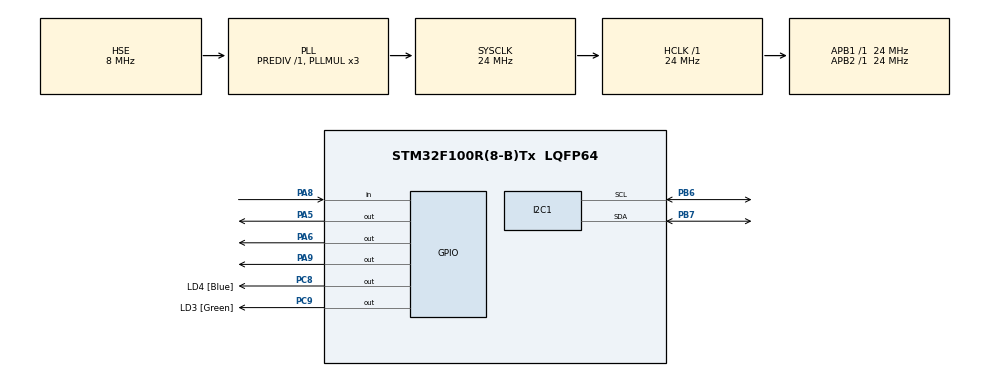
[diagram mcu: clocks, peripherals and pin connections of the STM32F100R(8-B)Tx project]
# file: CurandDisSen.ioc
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Mcu.Family=STM32F1
Mcu.Name=STM32F100R(8-B)Tx
Mcu.Package=LQFP64
NVIC.PriorityGroup=NVIC_PRIORITYGROUP_4
PA0-WKUP.Signal=SYS_WKUP
PA13.GPIO_Label=TMS_SWDIO
PA13.Mode=Serial_Wire
PA13.Signal=SYS_JTMS-SWDIO
PA14.GPIO_Label=TCK_SWCLK
PA14.Mode=Serial_Wire
PA14.Signal=SYS_JTCK-SWCLK
PA5.Signal=GPIO_Output
PA6.Signal=GPIO_Output
PA8.Signal=GPIO_Input
PA9.Signal=GPIO_Output
PB6.Mode=I2C
PB6.Signal=I2C1_SCL
PB7.Mode=I2C
PB7.Signal=I2C1_SDA
PC14-OSC32_IN.Mode=LSE-External-Oscillator
PC14-OSC32_IN.Signal=RCC_OSC32_IN
PC15-OSC32_OUT.Mode=LSE-External-Oscillator
PC15-OSC32_OUT.Signal=RCC_OSC32_OUT
PC8.GPIO_Label=LD4 [Blue]
PC8.Signal=GPIO_Output
PC9.GPIO_Label=LD3 [Green]
PC9.Signal=GPIO_Output
PD0-OSC_IN.Mode=HSE-External-Oscillator
PD0-OSC_IN.Signal=RCC_OSC_IN
PD1-OSC_OUT.Mode=HSE-External-Oscillator
PD1-OSC_OUT.Signal=RCC_OSC_OUT
ProjectManager.HeapSize=0x200
ProjectManager.StackSize=0x400
ProjectManager.TargetToolchain=MDK-ARM V5.32
RCC.AHBFreq_Value=24000000
RCC.APB1Freq_Value=24000000
RCC.APB1TimFreq_Value=24000000
RCC.APB2Freq_Value=24000000
RCC.APB2TimFreq_Value=24000000
RCC.HCLKFreq_Value=24000000
RCC.PLLMUL=RCC_PLL_MUL3
RCC.PLLSource=RCC_PLLSOURCE_HSE
RCC.SYSCLKFreq_VALUE=24000000
RCC.SYSCLKSource=RCC_SYSCLKSOURCE_PLLCLK
TIM1.Prescaler=71
VP_TIM1_VS_ClockSourceINT.Mode=Internal
board=STM32VLDISCOVERY

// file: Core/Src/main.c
/* USER CODE BEGIN Header */
/**
  ******************************************************************************
  * @file           : main.c
  * @brief          : Main program body
  ******************************************************************************
  * @attention
  *
  * Copyright (c) 2024 STMicroelectronics.
  * All rights reserved.
  *
  * This software is licensed under terms that can be found in the LICENSE file
  * in the root directory of this software component.
  * If no LICENSE file comes with this software, it is provided AS-IS.
  *
  ******************************************************************************
  */
/* USER CODE END Header */
#include "main.h"

/* USER CODE BEGIN Includes */
#include "INA219.h"
#include "liquidcrystal_i2c.h"
#include "stdio.h"

/* USER CODE END Includes */

I2C_HandleTypeDef hi2c1;

TIM_HandleTypeDef htim1;

/* USER CODE BEGIN PV */
INA219_t ina219;

#define TRIG_PIN GPIO_PIN_9
#define TRIG_PORT GPIOA
#define ECHO_PIN GPIO_PIN_8
#define ECHO_PORT GPIOA
uint32_t pMillis;
uint32_t Value1 = 0;
uint32_t Value2 = 0;
uint16_t Distance  = 0;  // cm

/* USER CODE END PV */

void SystemClock_Config(void);
static void MX_GPIO_Init(void);
static void MX_I2C1_Init(void);
static void MX_TIM1_Init(void);

int main(void)
{

  /* USER CODE BEGIN 1 */
	char deger[16];
	uint32_t vbus, vshunt, current, maxCurrent;

  /* USER CODE END 1 */

  /* MCU Configuration--------------------------------------------------------*/

  /* Reset of all peripherals, Initializes the Flash interface and the Systick. */
  HAL_Init();

  /* Configure the system clock */
  SystemClock_Config();

  /* Initialize all configured peripherals */
  MX_GPIO_Init();
  MX_I2C1_Init();
  MX_TIM1_Init();
  /* USER CODE BEGIN 2 */
	HD44780_Init(2);
	HD44780_Backlight();
	HAL_TIM_Base_Start(&htim1);
	HAL_GPIO_WritePin(TRIG_PORT, TRIG_PIN, GPIO_PIN_RESET);

	  while(!INA219_Init(&ina219, &hi2c1, INA219_ADDRESS))
  {

  }

  /* USER CODE END 2 */

  /* Infinite loop */
  /* USER CODE BEGIN WHILE */
    while (1)
  {

    HAL_GPIO_WritePin(TRIG_PORT, TRIG_PIN, GPIO_PIN_SET);  // pull the TRIG pin HIGH
    __HAL_TIM_SET_COUNTER(&htim1, 0);
    while (__HAL_TIM_GET_COUNTER (&htim1) < 10);  // wait for 10 us
    HAL_GPIO_WritePin(TRIG_PORT, TRIG_PIN, GPIO_PIN_RESET);  // pull the TRIG pin low

    pMillis = HAL_GetTick(); // used this to avoid infinite while loop  (for timeout)
    // wait for the echo pin to go high
    while (!(HAL_GPIO_ReadPin (ECHO_PORT, ECHO_PIN)) && pMillis + 10 >  HAL_GetTick());
    Value1 = __HAL_TIM_GET_COUNTER (&htim1);

    pMillis = HAL_GetTick(); // used this to avoid infinite while loop (for timeout)
    // wait for the echo pin to go low
    while ((HAL_GPIO_ReadPin (ECHO_PORT, ECHO_PIN)) && pMillis + 50 > HAL_GetTick());
    Value2 = __HAL_TIM_GET_COUNTER (&htim1);

    Distance = (Value2-Value1)* 0.034/2;
    HAL_Delay(50);
		sprintf(deger,"dis %d cm", Distance);
		HD44780_SetCursor(0,0);
		HD44780_PrintStr(deger);
		vbus = INA219_ReadBusVoltage(&ina219);
		vshunt = INA219_ReadShuntVolage(&ina219);
		current = INA219_ReadCurrent(&ina219);
		if(maxCurrent == 0 || maxCurrent < current)
		{
			maxCurrent = current;
		}
		sprintf(deger,"cur %d mA", current);
		HD44780_SetCursor(0,1);
		HD44780_PrintStr(deger);
		sprintf(deger,"MAX %d mA", maxCurrent);
		HD44780_SetCursor(8,0);
		HD44780_PrintStr(deger);

		if(maxCurrent >= 200)
		{
			HAL_GPIO_WritePin(GPIOA,GPIO_PIN_5,1);
			HAL_GPIO_WritePin(GPIOA,GPIO_PIN_6,0);
		}
		else
		{
			HAL_GPIO_WritePin(GPIOA,GPIO_PIN_5,0);
			HAL_GPIO_WritePin(GPIOA,GPIO_PIN_6,1);
		}
    /* USER CODE END WHILE */

  }
}

void SystemClock_Config(void)
{
  RCC_OscInitTypeDef RCC_OscInitStruct = {0};
  RCC_ClkInitTypeDef RCC_ClkInitStruct = {0};

  /** Initializes the RCC Oscillators according to the specified parameters
  * in the RCC_OscInitTypeDef structure.
  */
  RCC_OscInitStruct.OscillatorType = RCC_OSCILLATORTYPE_HSE;
  RCC_OscInitStruct.HSEState = RCC_HSE_ON;
  RCC_OscInitStruct.HSEPredivValue = RCC_HSE_PREDIV_DIV1;
  RCC_OscInitStruct.PLL.PLLState = RCC_PLL_ON;
  RCC_OscInitStruct.PLL.PLLSource = RCC_PLLSOURCE_HSE;
  RCC_OscInitStruct.PLL.PLLMUL = RCC_PLL_MUL3;
  if (HAL_RCC_OscConfig(&RCC_OscInitStruct) != HAL_OK)
  {
    Error_Handler();
  }

  /** Initializes the CPU, AHB and APB buses clocks
  */
  RCC_ClkInitStruct.ClockType = RCC_CLOCKTYPE_HCLK|RCC_CLOCKTYPE_SYSCLK
                              |RCC_CLOCKTYPE_PCLK1|RCC_CLOCKTYPE_PCLK2;
  RCC_ClkInitStruct.SYSCLKSource = RCC_SYSCLKSOURCE_PLLCLK;
  RCC_ClkInitStruct.AHBCLKDivider = RCC_SYSCLK_DIV1;
  RCC_ClkInitStruct.APB1CLKDivider = RCC_HCLK_DIV1;
  RCC_ClkInitStruct.APB2CLKDivider = RCC_HCLK_DIV1;

  if (HAL_RCC_ClockConfig(&RCC_ClkInitStruct, FLASH_LATENCY_0) != HAL_OK)
  {
    Error_Handler();
  }
}

static void MX_I2C1_Init(void)
{

  hi2c1.Instance = I2C1;
  hi2c1.Init.ClockSpeed = 100000;
  hi2c1.Init.DutyCycle = I2C_DUTYCYCLE_2;
  hi2c1.Init.OwnAddress1 = 0;
  hi2c1.Init.AddressingMode = I2C_ADDRESSINGMODE_7BIT;
  hi2c1.Init.DualAddressMode = I2C_DUALADDRESS_DISABLE;
  hi2c1.Init.OwnAddress2 = 0;
  hi2c1.Init.GeneralCallMode = I2C_GENERALCALL_DISABLE;
  hi2c1.Init.NoStretchMode = I2C_NOSTRETCH_DISABLE;
  if (HAL_I2C_Init(&hi2c1) != HAL_OK)
  {
    Error_Handler();
  }

}

static void MX_TIM1_Init(void)
{

  TIM_ClockConfigTypeDef sClockSourceConfig = {0};
  TIM_MasterConfigTypeDef sMasterConfig = {0};

  htim1.Instance = TIM1;
  htim1.Init.Prescaler = 71;
  htim1.Init.CounterMode = TIM_COUNTERMODE_UP;
  htim1.Init.Period = 65535;
  htim1.Init.ClockDivision = TIM_CLOCKDIVISION_DIV1;
  htim1.Init.RepetitionCounter = 0;
  htim1.Init.AutoReloadPreload = TIM_AUTORELOAD_PRELOAD_DISABLE;
  if (HAL_TIM_Base_Init(&htim1) != HAL_OK)
  {
    Error_Handler();
  }
  sClockSourceConfig.ClockSource = TIM_CLOCKSOURCE_INTERNAL;
  if (HAL_TIM_ConfigClockSource(&htim1, &sClockSourceConfig) != HAL_OK)
  {
    Error_Handler();
  }
  sMasterConfig.MasterOutputTrigger = TIM_TRGO_RESET;
  sMasterConfig.MasterSlaveMode = TIM_MASTERSLAVEMODE_DISABLE;
  if (HAL_TIMEx_MasterConfigSynchronization(&htim1, &sMasterConfig) != HAL_OK)
  {
    Error_Handler();
  }

}

static void MX_GPIO_Init(void)
{
  GPIO_InitTypeDef GPIO_InitStruct = {0};

  /* GPIO Ports Clock Enable */
  __HAL_RCC_GPIOC_CLK_ENABLE();
  __HAL_RCC_GPIOD_CLK_ENABLE();
  __HAL_RCC_GPIOA_CLK_ENABLE();
  __HAL_RCC_GPIOB_CLK_ENABLE();

  /*Configure GPIO pin Output Level */
  HAL_GPIO_WritePin(GPIOA, GPIO_PIN_5|GPIO_PIN_6|GPIO_PIN_9, GPIO_PIN_RESET);

  /*Configure GPIO pin Output Level */
  HAL_GPIO_WritePin(GPIOC, LD4_Pin|LD3_Pin, GPIO_PIN_RESET);

  /*Configure GPIO pins : PA5 PA6 PA9 */
  GPIO_InitStruct.Pin = GPIO_PIN_5|GPIO_PIN_6|GPIO_PIN_9;
  GPIO_InitStruct.Mode = GPIO_MODE_OUTPUT_PP;
  GPIO_InitStruct.Pull = GPIO_NOPULL;
  GPIO_InitStruct.Speed = GPIO_SPEED_FREQ_LOW;
  HAL_GPIO_Init(GPIOA, &GPIO_InitStruct);

  /*Configure GPIO pins : LD4_Pin LD3_Pin */
  GPIO_InitStruct.Pin = LD4_Pin|LD3_Pin;
  GPIO_InitStruct.Mode = GPIO_MODE_OUTPUT_PP;
  GPIO_InitStruct.Pull = GPIO_NOPULL;
  GPIO_InitStruct.Speed = GPIO_SPEED_FREQ_LOW;
  HAL_GPIO_Init(GPIOC, &GPIO_InitStruct);

  /*Configure GPIO pin : PA8 */
  GPIO_InitStruct.Pin = GPIO_PIN_8;
  GPIO_InitStruct.Mode = GPIO_MODE_INPUT;
  GPIO_InitStruct.Pull = GPIO_NOPULL;
  HAL_GPIO_Init(GPIOA, &GPIO_InitStruct);

}

void Error_Handler(void)
{
  __disable_irq();
  while (1)
  {
  }
}
